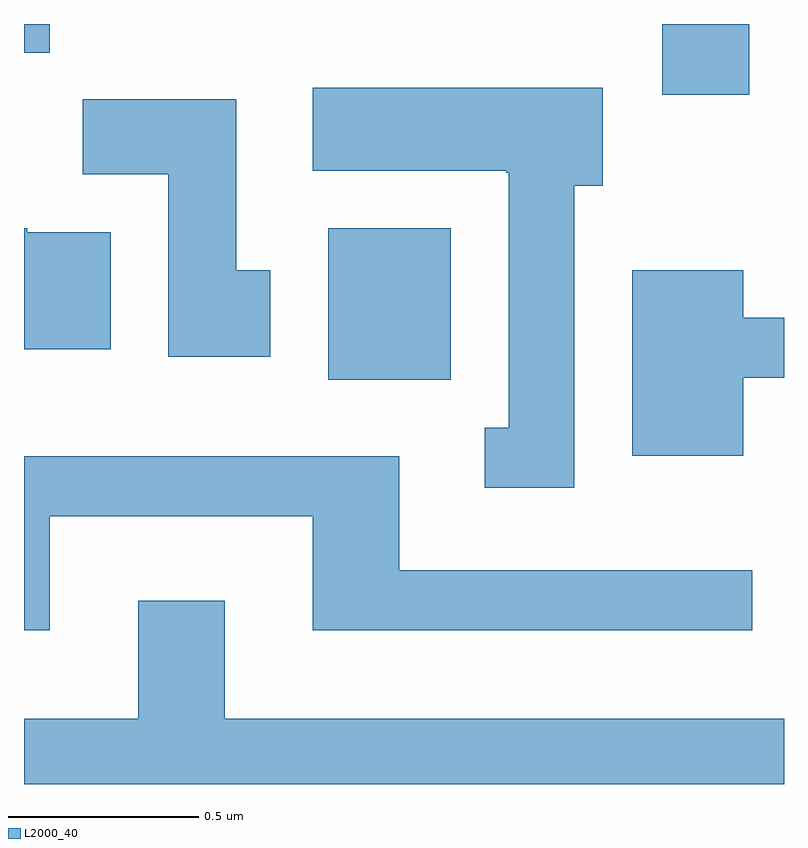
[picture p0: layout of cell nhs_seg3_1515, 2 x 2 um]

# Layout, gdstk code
import gdstk
lib = gdstk.Library(unit=1e-6, precision=1e-09)
def R(c, l, rs):  # rectangles x0, y0, x1, y1
    for r in rs: c.add(gdstk.rectangle(r[:2], r[2:], *l))
def P(c, l, *ps):  # polygons
    for p in ps: c.add(gdstk.Polygon(p, *l))
L2000_40 = (2000, 40)

nhs_seg3_1515 = lib.new_cell('nhs_seg3_1515')
R(nhs_seg3_1515, L2000_40, [(197.411,1124.956,197.734,1125.354), (198.291,1125.706,198.519,1125.892), (196.611,1125.816,196.679,1125.892)])
P(nhs_seg3_1515, L2000_40, [(198.059,1125.466),(198.134,1125.466),(198.134,1125.724),(197.371,1125.724),(197.371,1125.506),(197.88,1125.506),(197.88,1125.5),(197.886,1125.5),(197.886,1124.829),(197.823,1124.829),(197.823,1124.671),(198.059,1124.671)],
  [(197.259,1125.244),(197.169,1125.244),(197.169,1125.694),(196.766,1125.694),(196.766,1125.496),(196.991,1125.496),(196.991,1125.016),(197.259,1125.016)],
  [(196.839,1125.344),(196.62,1125.344),(196.62,1125.354),(196.611,1125.354),(196.611,1125.036),(196.839,1125.036)],
  [(198.504,1124.961),(198.611,1124.961),(198.611,1125.119),(198.504,1125.119),(198.504,1125.244),(198.211,1125.244),(198.211,1124.756),(198.504,1124.756)],
  [(196.679,1124.596),(197.371,1124.596),(197.371,1124.296),(198.528,1124.296),(198.528,1124.454),(197.599,1124.454),(197.599,1124.754),(196.611,1124.754),(196.611,1124.296),(196.679,1124.296)],
  [(198.611,1124.064),(197.139,1124.064),(197.139,1124.374),(196.911,1124.374),(196.911,1124.064),(196.611,1124.064),(196.611,1123.892),(198.611,1123.892)])

lib.write_gds('nhs_seg3_1515.gds')
